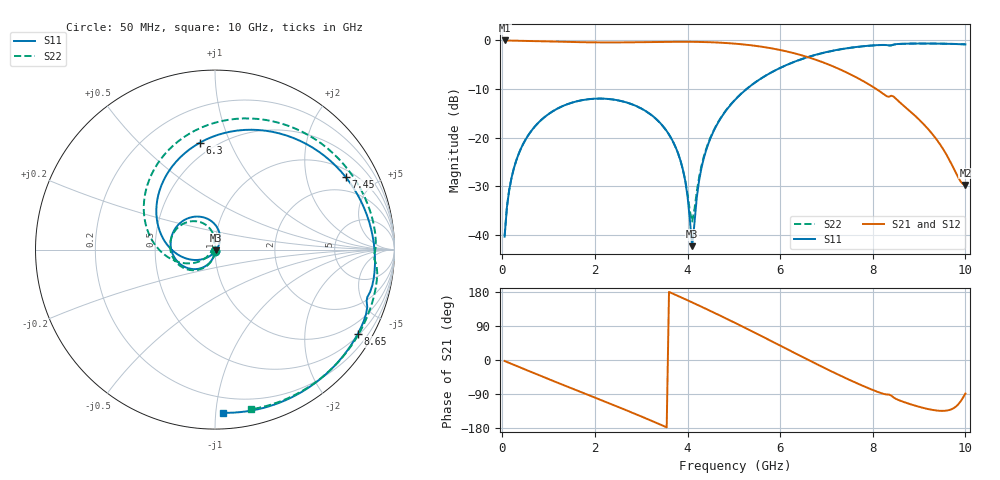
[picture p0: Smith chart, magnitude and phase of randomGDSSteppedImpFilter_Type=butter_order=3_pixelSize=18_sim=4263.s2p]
! freq	dB(S11)	phase(S11)	dB(S12)	phase(S12)
!  dB(S21)	phase(S21)	dB(S22)	phase(S22)
!S-par simulation data
#  GHz  S  DB  R 50
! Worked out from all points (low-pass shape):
!   200 points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, 50 MHz to 10 GHz, reference 50 ohm
!   highest |S21| = -0.01 dB at 50 MHz (marker M1); lowest = -29.7 dB at 10 GHz (marker M2)
!   |S21| within 3 dB of the highest: start of sweep to 6.447 GHz
!   lowest |S11| = -42.3 dB at 4.1 GHz (marker M3), VSWR 1.02, Z = 50.7 - j0.393 ohm
!   |S11| at or under -10 dB: start of sweep to 5.275 GHz
!   |S22| runs from -40.2 to -0.6 dB; largest |S21 - S12| = 0
!   S11 on the Smith chart (normalised r, x): 50 MHz: 1.00, -0.02; 6.3 GHz: 0.42, +0.78; 7.45 GHz: 1.29, +3.40; 8.65 GHz: 0.56, -3.59; 10 GHz: 0.10, -1.05
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0.05  -40.32 -92.6  -0.01 -2.6  -0.01 -2.6  -40.20 -92.2
0.1  -34.27 -95.7  -0.02 -5.2  -0.02 -5.2  -34.19 -94.9
0.2  -28.22 -101.1  -0.03 -10.2  -0.03 -10.2  -28.19 -100.0
0.5  -20.42 -116.7  -0.07 -25.4  -0.07 -25.4  -20.42 -115.0
1.15  -14.22 -150.4  -0.23 -57.7  -0.23 -57.7  -14.22 -146.4
1.75  -12.23 179.0  -0.37 -87.0  -0.37 -87.0  -12.24 -174.6
2.55  -12.41 137.9  -0.41 -126.2  -0.41 -126.2  -12.42 148.4
3.4  -16.87 91.3  -0.31 -169.7  -0.31 -169.7  -16.90 109.2
3.9  -26.56 57.1  -0.27 163.2  -0.27 163.2  -26.52 94.6
4  -32.02 43.4  -0.28 157.6  -0.28 157.6  -31.53 103.5
4.1  -42.28 -30.3  -0.29 152.0  -0.29 152.0  -37.23 159.3
4.25  -28.79 -123.7  -0.31 143.5  -0.31 143.5  -28.11 -140.7
4.4  -22.61 -138.4  -0.34 134.9  -0.34 134.9  -22.36 -139.0
5.05  -11.97 177.8  -0.68 96.5  -0.68 96.5  -11.93 -168.5
5.75  -6.89 133.0  -1.52 53.7  -1.52 53.7  -6.89 151.2
6.3  -4.41 98.0  -2.63 19.4  -2.63 19.4  -4.43 117.9
6.7  -3.12 73.1  -3.75 -5.4  -3.75 -5.4  -3.15 93.2
7.45  -1.59 29.1  -6.65 -49.8  -6.65 -49.8  -1.62 47.9
8.35  -1.02 -17.3  -11.58 -91.3  -11.58 -91.3  -1.04 -1.9
8.65  -0.69 -30.5  -13.28 -110.0  -13.28 -110.0  -0.70 -16.1
9.35  -0.65 -60.8  -20.01 -132.9  -20.01 -132.9  -0.64 -49.0
10  -0.82 -87.2  -29.71 -88.5  -29.71 -88.5  -0.80 -77.2
